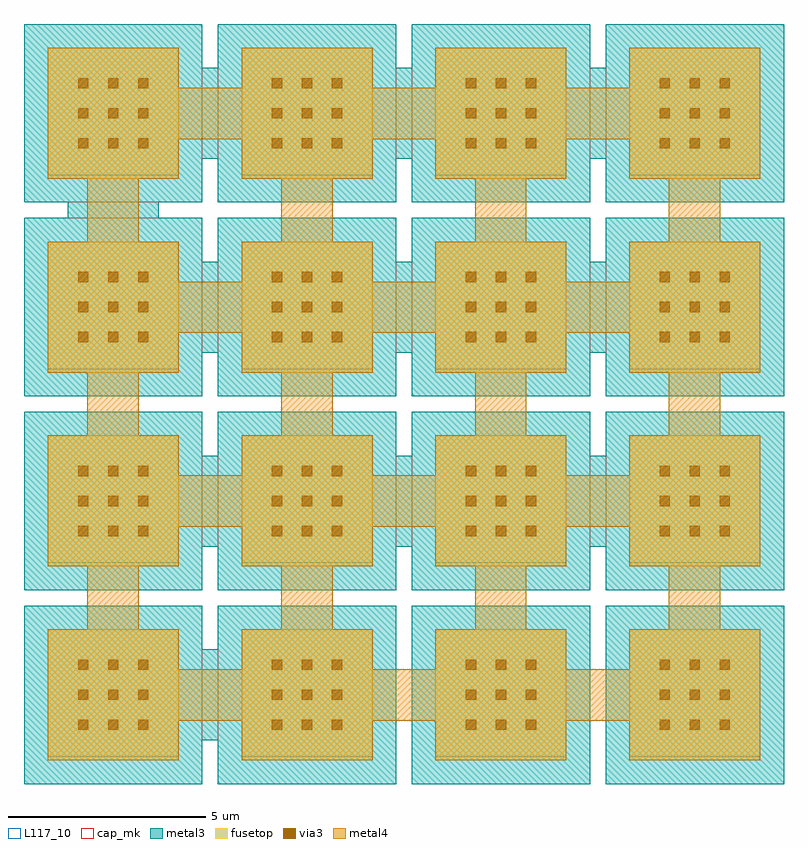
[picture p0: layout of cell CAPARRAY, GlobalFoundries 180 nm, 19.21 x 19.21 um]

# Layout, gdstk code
import gdstk
lib = gdstk.Library(unit=1e-6, precision=1e-09)
def R(c, l, rs):  # rectangles x0, y0, x1, y1
    for r in rs: c.add(gdstk.rectangle(r[:2], r[2:], *l))
def A(c, l, x, y, w, h, nx, ny, dx, dy):  # array of equal rectangles
    R(c, l, [(x+i*dx, y+j*dy, x+i*dx+w, y+j*dy+h) for i in range(nx) for j in range(ny)])
via3 = (40, 0)
metal3 = (42, 0)
metal4 = (46, 0)
fusetop = (75, 0)
cap_mk = (117, 5)
L117_10 = (117, 10)

caparray = lib.new_cell('CAPARRAY')
A(caparray, via3, 0.765, 0.765, 0.26, 0.26, 3, 3, 0.76, 0.76)
A(caparray, via3, 5.665, 0.765, 0.26, 0.26, 3, 3, 0.76, 0.76)
A(caparray, via3, 10.565, 0.765, 0.26, 0.26, 3, 3, 0.76, 0.76)
A(caparray, via3, 15.465, 0.765, 0.26, 0.26, 3, 3, 0.76, 0.76)
A(caparray, via3, 0.765, 5.665, 0.26, 0.26, 3, 3, 0.76, 0.76)
A(caparray, via3, 5.665, 5.665, 0.26, 0.26, 3, 3, 0.76, 0.76)
A(caparray, via3, 10.565, 5.665, 0.26, 0.26, 3, 3, 0.76, 0.76)
A(caparray, via3, 15.465, 5.665, 0.26, 0.26, 3, 3, 0.76, 0.76)
A(caparray, via3, 0.765, 10.565, 0.26, 0.26, 3, 3, 0.76, 0.76)
A(caparray, via3, 5.665, 10.565, 0.26, 0.26, 3, 3, 0.76, 0.76)
A(caparray, via3, 10.565, 10.565, 0.26, 0.26, 3, 3, 0.76, 0.76)
A(caparray, via3, 15.465, 10.565, 0.26, 0.26, 3, 3, 0.76, 0.76)
A(caparray, via3, 0.765, 15.465, 0.26, 0.26, 3, 3, 0.76, 0.76)
A(caparray, via3, 5.665, 15.465, 0.26, 0.26, 3, 3, 0.76, 0.76)
A(caparray, via3, 10.565, 15.465, 0.26, 0.26, 3, 3, 0.76, 0.76)
A(caparray, via3, 15.465, 15.465, 0.26, 0.26, 3, 3, 0.76, 0.76)
A(caparray, metal3, -0.6, -0.6, 4.51, 4.51, 4, 4, 4.9, 4.9)
A(caparray, metal3, 3.81, 5.4, 0.79, 2.3, 3, 3, 4.9, 4.9)
R(caparray, metal3, [(3.81,0.5,4.6,2.8), (0.5,13.61,2.8,14.4)])
A(caparray, metal4, 0, 0, 3.31, 3.31, 4, 4, 4.9, 4.9)
A(caparray, metal4, 3.21, 1, 1.79, 1.3, 3, 4, 4.9, 4.9)
A(caparray, metal4, 1, 3.21, 1.3, 1.79, 4, 3, 4.9, 4.9)
A(caparray, fusetop, 0, 0, 3.31, 3.31, 4, 4, 4.9, 4.9)
A(caparray, cap_mk, -0.6, -0.6, 4.51, 4.51, 4, 4, 4.9, 4.9)
A(caparray, L117_10, 0, 0, 3.31, 0.1, 4, 4, 4.9, 4.9)

lib.write_gds('CAPARRAY.gds')
